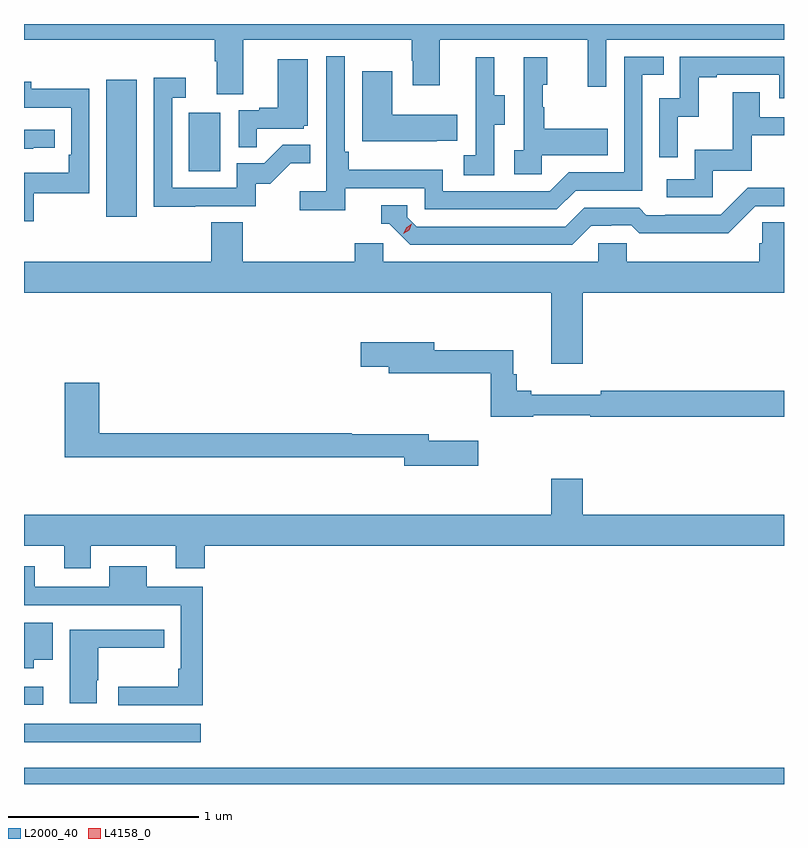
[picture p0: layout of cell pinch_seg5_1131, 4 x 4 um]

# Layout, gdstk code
import gdstk
lib = gdstk.Library(unit=1e-6, precision=1e-09)
def R(c, l, rs):  # rectangles x0, y0, x1, y1
    for r in rs: c.add(gdstk.rectangle(r[:2], r[2:], *l))
def P(c, l, *ps):  # polygons
    for p in ps: c.add(gdstk.Polygon(p, *l))
L2000_40 = (2000, 40)
L4158_0 = (4158, 0)

pinch_seg5_1131 = lib.new_cell('pinch_seg5_1131')
R(pinch_seg5_1131, L2000_40, [(845.548,844.851,849.548,844.936), (845.548,845.072,846.478,845.169), (845.548,845.268,845.65,845.364), (845.981,847.836,846.142,848.557), (846.416,848.076,846.58,848.383)])
P(pinch_seg5_1131, L2000_40, [(846.703,848.768),(847.588,848.768),(847.588,848.657),(847.595,848.657),(847.595,848.529),(847.735,848.529),(847.735,848.768),(848.516,848.768),(848.516,848.52),(848.613,848.52),(848.613,848.768),(849.548,848.768),(849.548,848.851),(845.548,848.851),(845.548,848.768),(846.551,848.768),(846.551,848.656),(846.563,848.656),(846.563,848.482),(846.703,848.482)],
  [(847.238,847.986),(847.656,847.986),(847.656,847.875),(848.353,847.875),(848.452,847.974),(848.802,847.974),(848.802,848.583),(848.915,848.583),(848.915,848.679),(848.706,848.679),(848.706,848.07),(848.415,848.07),(848.316,847.971),(847.752,847.971),(847.752,848.083),(847.256,848.083),(847.256,848.179),(847.236,848.179),(847.236,848.68),(847.14,848.68),(847.14,847.972),(846.999,847.972),(846.999,847.87),(847.238,847.87)],
  [(848.988,848.363),(849.098,848.363),(849.098,848.571),(849.193,848.571),(849.193,848.583),(849.522,848.583),(849.522,848.46),(849.548,848.46),(849.548,848.679),(849,848.679),(849,848.46),(848.892,848.46),(848.892,848.151),(848.988,848.151)],
  [(848.022,848.32),(848.077,848.32),(848.077,848.475),(848.023,848.475),(848.023,848.677),(847.925,848.677),(847.925,848.463),(847.926,848.463),(847.926,848.159),(847.863,848.159),(847.863,848.056),(848.022,848.056)],
  [(848.274,848.159),(848.621,848.159),(848.621,848.299),(848.287,848.299),(848.287,848.414),(848.277,848.414),(848.277,848.532),(848.302,848.532),(848.302,848.677),(848.178,848.677),(848.178,848.186),(848.127,848.186),(848.127,848.061),(848.274,848.061)],
  [(846.773,848.301),(847.02,848.301),(847.02,848.316),(847.042,848.316),(847.042,848.665),(846.884,848.665),(846.884,848.41),(846.785,848.41),(846.785,848.397),(846.678,848.397),(846.678,848.203),(846.773,848.203)],
  [(847.721,848.237),(847.829,848.237),(847.829,848.374),(847.486,848.374),(847.486,848.602),(847.328,848.602),(847.328,848.234),(847.721,848.234)],
  [(846.449,847.893),(846.768,847.893),(846.768,848.01),(846.844,848.01),(846.951,848.117),(847.055,848.117),(847.055,848.216),(846.911,848.216),(846.813,848.118),(846.669,848.118),(846.669,847.989),(846.327,847.989),(846.327,848.463),(846.4,848.463),(846.4,848.569),(846.231,848.569),(846.231,847.888),(846.449,847.888)],
  [(845.599,847.959),(845.892,847.959),(845.892,848.51),(845.587,848.51),(845.587,848.548),(845.548,848.548),(845.548,848.409),(845.796,848.409),(845.796,848.164),(845.783,848.164),(845.783,848.068),(845.548,848.068),(845.548,847.812),(845.599,847.812)],
  [(849.174,848.079),(849.379,848.079),(849.379,848.265),(849.548,848.265),(849.548,848.361),(849.421,848.361),(849.421,848.491),(849.277,848.491),(849.277,848.188),(849.078,848.188),(849.078,848.034),(848.931,848.034),(848.931,847.938),(849.174,847.938)],
  [(845.597,848.199),(845.71,848.199),(845.71,848.295),(845.548,848.295),(845.548,848.194),(845.597,848.194)],
  [(848.533,847.788),(848.64,847.788),(848.64,847.791),(848.743,847.791),(848.785,847.749),(849.018,847.749),(849.018,847.751),(849.254,847.751),(849.396,847.893),(849.548,847.893),(849.548,847.989),(849.357,847.989),(849.216,847.848),(848.923,847.848),(848.923,847.845),(848.824,847.845),(848.785,847.884),(848.496,847.884),(848.397,847.785),(847.614,847.785),(847.566,847.833),(847.566,847.896),(847.427,847.896),(847.427,847.8),(847.47,847.8),(847.581,847.689),(848.434,847.689)],
  [(847.44,847.698),(847.289,847.698),(847.289,847.6),(846.698,847.6),(846.698,847.808),(846.533,847.808),(846.533,847.6),(845.548,847.6),(845.548,847.436),(848.324,847.436),(848.324,847.062),(848.488,847.062),(848.488,847.436),(849.548,847.436),(849.548,847.808),(849.433,847.808),(849.433,847.698),(849.419,847.698),(849.419,847.6),(848.721,847.6),(848.721,847.698),(848.571,847.698),(848.571,847.6),(847.44,847.6)],
  [(848.228,846.792),(848.528,846.792),(848.528,846.784),(849.548,846.784),(849.548,846.92),(848.584,846.92),(848.584,846.901),(848.218,846.901),(848.218,846.92),(848.141,846.92),(848.141,847.008),(848.123,847.008),(848.123,847.135),(847.708,847.135),(847.708,847.177),(847.32,847.177),(847.32,847.048),(847.469,847.048),(847.469,847.014),(848.005,847.014),(848.005,846.784),(848.228,846.784)],
  [(847.939,846.657),(847.678,846.657),(847.678,846.691),(847.274,846.691),(847.274,846.698),(845.945,846.698),(845.945,846.964),(845.762,846.964),(845.762,846.57),(847.55,846.57),(847.55,846.527),(847.939,846.527)],
  [(845.899,846.104),(846.347,846.104),(846.347,845.987),(846.5,845.987),(846.5,846.104),(849.548,846.104),(849.548,846.268),(848.488,846.268),(848.488,846.457),(848.324,846.457),(848.324,846.268),(845.548,846.268),(845.548,846.104),(845.759,846.104),(845.759,845.987),(845.899,845.987)],
  [(846.488,845.889),(846.193,845.889),(846.193,845.998),(845.996,845.998),(845.996,845.889),(845.605,845.889),(845.605,845.998),(845.548,845.998),(845.548,845.793),(846.372,845.793),(846.372,845.458),(846.36,845.458),(846.36,845.363),(846.045,845.363),(846.045,845.265),(846.488,845.265)],
  [(845.599,845.504),(845.698,845.504),(845.698,845.701),(845.548,845.701),(845.548,845.459),(845.599,845.459)],
  [(845.932,845.398),(845.94,845.398),(845.94,845.567),(846.287,845.567),(846.287,845.663),(846.179,845.663),(846.179,845.664),(845.789,845.664),(845.789,845.276),(845.932,845.276)])
P(pinch_seg5_1131, L4158_0, [(847.544,847.746),(847.544,847.746),(847.56,847.779),(847.59,847.799),(847.59,847.799),(847.59,847.799),(847.575,847.766),(847.544,847.746)])

lib.write_gds('pinch_seg5_1131.gds')
